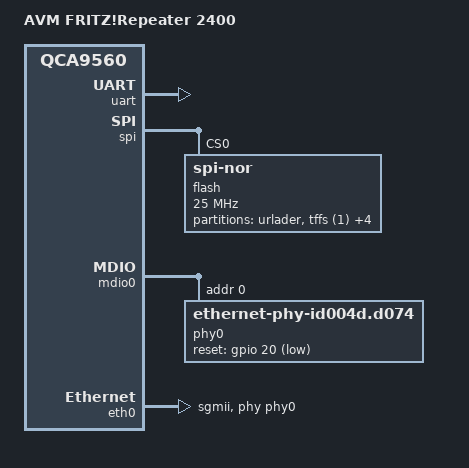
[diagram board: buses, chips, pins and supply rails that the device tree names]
// SPDX-License-Identifier: GPL-2.0-or-later OR MIT

/*
 * Minimalvariante zur Eingrenzung.
 *
 * Enthaelt bewusst NICHTS von den Erweiterungen dieses Ports:
 * kein spi-gpio, kein 74HC595, keine gpio-leds, kein i2c-gpio, kein LM75,
 * keine Taster, kein PCIe, kein ath9k, kein ath10k.
 *
 * Uebrig bleiben SoC, SPI-Flash mit Partitionstabelle und Ethernet. Damit
 * ist die Frage beantwortbar, ob der Kernel auf diesem Geraet ueberhaupt
 * durchlaeuft - alle Treiber, die ueber Deferred Probing laufen (spi-gpio ->
 * 74HC595 -> gpio-leds, i2c-gpio -> lm75), sind hier nicht dabei und koennen
 * den Boot nicht aufhalten.
 *
 * Weil keine gpio-leds definiert sind, bleiben die LEDs in dem Zustand, den
 * EVA hinterlassen hat. Das einzige Signal ist also das Netzwerk:
 * antwortet 192.168.1.1, liegt der Fehler in einer meiner Erweiterungen;
 * antwortet es nicht, sitzt er im Grundport (Ethernet oder SoC-Anbindung).
 */

#include "qca956x.dtsi"

#include <dt-bindings/gpio/gpio.h>

/ {
	model = "AVM FRITZ!Repeater 2400";
	compatible = "avm,fritz2400", "qca,qcn5500", "qca,qca9560";

	aliases {
		label-mac-device = &eth0;
	};
};

&uart {
	status = "okay";
};

&spi {
	status = "okay";

	flash@0 {
		compatible = "jedec,spi-nor";
		reg = <0>;
		spi-max-frequency = <25000000>;

		partitions {
			compatible = "fixed-partitions";
			#address-cells = <1>;
			#size-cells = <1>;

			partition@0 {
				label = "urlader";
				reg = <0x000000 0x020000>;
				read-only;
			};

			partition@20000 {
				label = "tffs (1)";
				reg = <0x020000 0x070000>;
				read-only;
			};

			partition@90000 {
				label = "reserved-kernel";
				reg = <0x090000 0x1f70000>;
				read-only;
			};

			partition@2000000 {
				label = "caldata";
				reg = <0x2000000 0x020000>;
				read-only;
			};

			partition@2020000 {
				label = "tffs (2)";
				reg = <0x2020000 0x070000>;
				read-only;
			};

			partition@2090000 {
				compatible = "avm,eva-firmware";
				label = "firmware";
				reg = <0x2090000 0x1f70000>;
			};
		};
	};
};

&mdio0 {
	status = "okay";

	phy0: ethernet-phy@0 {
		compatible = "ethernet-phy-id004d.d074";	/* AR8033 */
		reg = <0>;
		reset-gpios = <&gpio 20 GPIO_ACTIVE_LOW>;
		reset-assert-us = <20000>;
		reset-deassert-us = <20000>;
	};
};

&eth0 {
	status = "okay";

	phy-handle = <&phy0>;
	phy-mode = "sgmii";

	pll-data = <0x03000000 0x00000101 0x00001919>;

};
